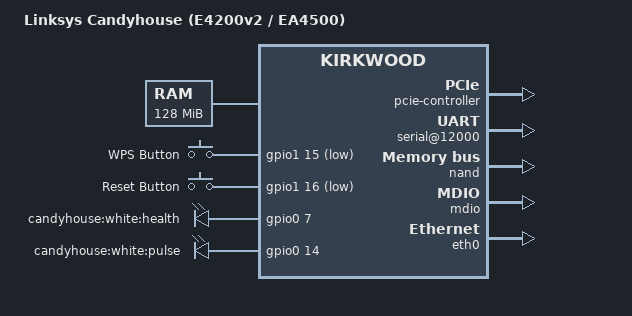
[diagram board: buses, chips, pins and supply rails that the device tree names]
/*
 * kirkwood-candyhouse.dts - Device Tree file for Linksys Candyhouse (E4200v2 / EA4500)
 *
 * (c) 2013 Jonas Gorski <jogo@openwrt.org>
 * (c) 2013 Deutsche Telekom Innovation Laboratories
 * (c) 2014 Luka Perkov <luka@openwrt.org>
 * (c) 2014 Randy C. Will <randall.will@gmail.com>
 *
 * This file is licensed under the terms of the GNU General Public
 * License version 2.  This program is licensed "as is" without any
 * warranty of any kind, whether express or implied.
 */

/dts-v1/;

#include "kirkwood.dtsi"
#include "kirkwood-6282.dtsi"

/ {
	model = "Linksys Candyhouse (E4200v2 / EA4500)";
	compatible = "linksys,ea4500", "linksys,e4200v2", "marvell,kirkwood-88f6282", "marvell,kirkwood";

	memory {
		device_type = "memory";
		reg = <0x00000000 0x8000000>;
	};

	chosen {
		bootargs = "console=ttyS0,115200n8 earlyprintk";
	};

	mbus {
		pcie-controller {
			status = "okay";

			pcie@1,0 {
				status = "okay";
			};

			pcie@2,0 {
				status = "okay";
			};
		};
	};

	ocp@f1000000 {
		pinctrl: pin-controller@10000 {
			pmx_led_white_health: pmx-led-white-health {
				marvell,pins = "mpp7";
				marvell,function = "gpo";
			};
			pmx_led_white_pulse: pmx-led-white-pulse {
				marvell,pins = "mpp14";
				marvell,function = "gpio";
			};
			pmx_btn_wps: pmx-btn-wps {
				marvell,pins = "mpp47";
				marvell,function = "gpio";
			};
			pmx_btn_reset: pmx-btn-reset {
				marvell,pins = "mpp48";
				marvell,function = "gpio";
			};
		};

		/* There is no battery on the boards, so the RTC does not keep
		   time when there is no power, making it useless. */
		rtc@10300 {
			status = "disabled";
		};

		serial@12000 {
			status = "okay";
		};

	};

	gpio_keys {
		compatible = "gpio-keys";
		#address-cells = <1>;
		#size-cells = <0>;
		pinctrl-0 = < &pmx_btn_wps &pmx_btn_reset >;
		pinctrl-names = "default";

		button@15 {
			label = "WPS Button";
			linux,code = <KEY_WPS_BUTTON>;
			gpios = <&gpio1 15 GPIO_ACTIVE_LOW>;
		};

		button@16 {
			label = "Reset Button";
			linux,code = <KEY_RESTART>;
			gpios = <&gpio1 16 GPIO_ACTIVE_LOW>;
		};
	};

	gpio-leds {
		compatible = "gpio-leds";
		pinctrl-0 = < &pmx_led_white_health &pmx_led_white_pulse >;
		pinctrl-names = "default";

		white-health {
			label = "candyhouse:white:health";
			gpios = <&gpio0 7 GPIO_ACTIVE_HIGH>;
		};

		white-pulse {
			label = "candyhouse:white:pulse";
			gpios = <&gpio0 14 GPIO_ACTIVE_HIGH>;
		};
	};

	dsa@0 {
		compatible = "marvell,dsa";
		#address-cells = <2>;
		#size-cells = <0>;

		dsa,ethernet = <&eth0port>;
		dsa,mii-bus = <&mdio>;

		switch@0 {
			#address-cells = <1>;
			#size-cells = <0>;
			reg = <0x10 0>;	/* MDIO address 16, switch 0 in tree */

			port@0 {
				reg = <0>;
				label = "sw0p0";
			};

			port@1 {
				reg = <1>;
				label = "sw0p1";
			};

			port@2 {
				reg = <2>;
				label = "sw0p2";
			};

			port@3 {
				reg = <3>;
				label = "sw0p3";
			};

			port@4 {
				reg = <4>;
				label = "sw0p4";
			};

			port@5 {
				reg = <5>;
				label = "cpu";
			};
		};
	};
};

&nand {
	status = "okay";
	pinctrl-0 = <&pmx_nand>;
	pinctrl-names = "default";

	partition@0 {
		label = "u-boot";
		reg = <0x0 0x80000>;
	};

	partition@80000 {
		label = "u_env";
		reg = <0x80000 0x20000>;
	};

	partition@A0000 {
		label = "s_env";
		reg = <0xA0000 0x20000>;
	};

	partition@200000 {
		label = "kernel";
		reg = <0x200000 0x2A0000>;
	};

	partition@4A0000 {
		label = "rootfs";
		reg = <0x4A0000 0x1760000>;
	};

	partition@1C00000 {
		label = "alt_kernel";
		reg = <0x1C00000 0x2A0000>;
	};

	partition@1EA0000 {
		label = "alt_rootfs";
		reg = <0x1EA0000 0x1760000>;
	};

	partition@3600000 {
		label = "syscfg";
		reg = <0x3600000 0x4A00000>;
	};
};

&mdio {
	status = "okay";
};

/* eth0 is connected to a Marvell 88E6171 switch, without a PHY. So set
 * fixed speed and duplex. */
&eth0 {
	status = "okay";
	ethernet0-port@0 {
		speed = <1000>;
		duplex = <1>;
	};
};

/* eth1 is connected to the switch as well. However DSA only supports a
 * single CPU port. So leave this port disabled to avoid confusion. */
&eth1 {
	status = "disabled";
	ethernet1-port@0 {
		speed = <1000>;
		duplex = <1>;
	};
};
